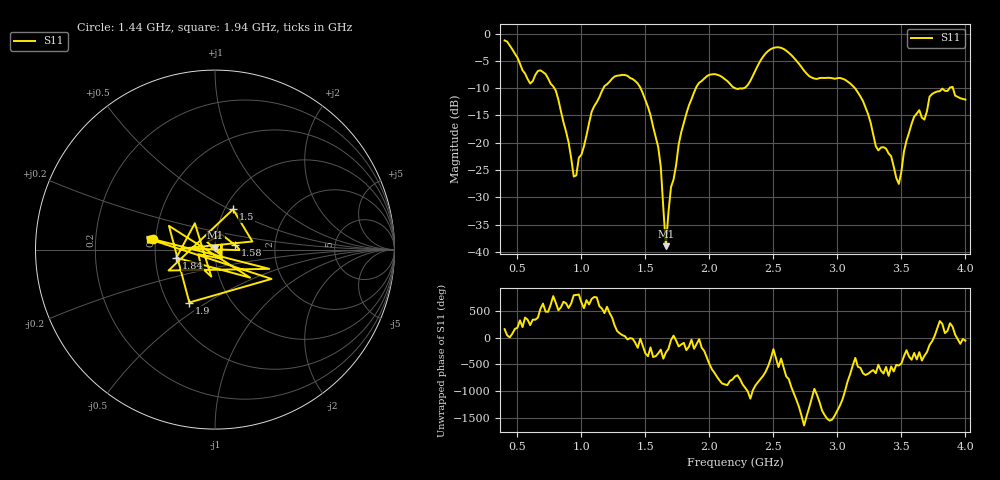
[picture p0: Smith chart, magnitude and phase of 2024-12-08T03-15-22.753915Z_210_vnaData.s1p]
!Created with skrf (http://scikit-rf.org).
# Hz S RI R 50.0
!freq ReS11 ImS11
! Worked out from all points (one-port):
!   181 points, 400 MHz to 4 GHz, reference 50 ohm
!   lowest |S11| = -38.9 dB at 1.66 GHz (marker M1), VSWR 1.02, Z = 50.1 + j1.13 ohm
!   |S11| at or under -10 dB: 788.3 MHz to 1.172 GHz (383.5 MHz wide, 39.1 % of centre); 1.462 GHz to 1.894 GHz (432 MHz wide, 25.7 % of centre); 3.137 GHz to 3.876 GHz (739.5 MHz wide, 21.1 % of centre) (the widest 3 of 5)
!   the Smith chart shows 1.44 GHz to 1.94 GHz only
!   S11 on the Smith chart (normalised r, x): 1.44 GHz: 0.49, +0.06; 1.5 GHz: 1.09, +0.52; 1.58 GHz: 1.25, +0.07; 1.84 GHz: 0.64, -0.06; 1.9 GHz: 0.64, -0.42; 1.94 GHz: 0.46, +0.06
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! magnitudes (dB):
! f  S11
! 400 MHz  -1.3
! 600 MHz  -9.2
! 720 MHz  -7.4
! 860 MHz  -16.2
! 940 MHz  -26.2
! 960 MHz  -26.0
! 1.08 GHz  -14.3
! 1.3 GHz  -7.7
! 1.44 GHz  -9.1
! 1.5 GHz  -12.2
! 1.58 GHz  -18.9
! 1.62 GHz  -24.3
! 1.66 GHz  -38.9
! 1.7 GHz  -28.1
! 1.76 GHz  -20.3
! 1.84 GHz  -13.1
! 1.9 GHz  -9.7
! 1.94 GHz  -8.7
! 2.2 GHz  -10.0
! 2.48 GHz  -2.8
! 2.66 GHz  -4.4
! 3.1 GHz  -9.1
! 3.48 GHz  -27.5
! 3.56 GHz  -18.1
! 3.64 GHz  -14.0
! 3.68 GHz  -15.7
! 3.74 GHz  -11.1
! 4 GHz  -12.1
